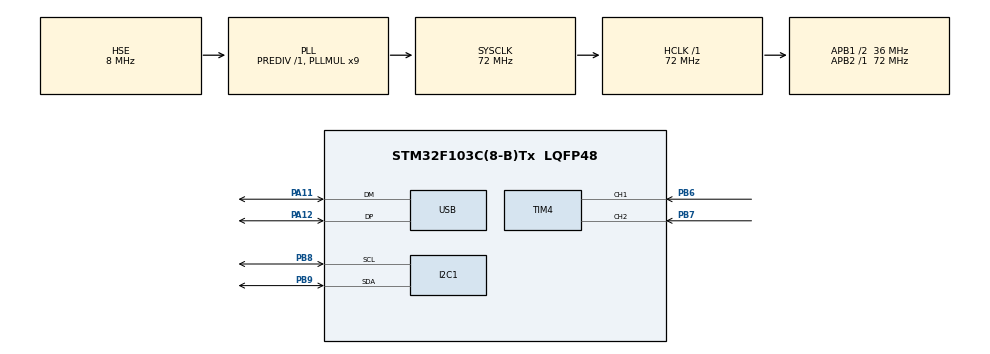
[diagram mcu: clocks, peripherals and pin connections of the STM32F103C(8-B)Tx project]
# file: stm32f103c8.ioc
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I2C1.I2C_Mode=I2C_Fast
Mcu.Family=STM32F1
Mcu.Name=STM32F103C(8-B)Tx
Mcu.Package=LQFP48
NVIC.I2C1_ER_IRQn=true\:0\:0\:false\:false\:false\:true\:true\:true
NVIC.I2C1_EV_IRQn=true\:0\:0\:false\:false\:false\:true\:true\:true
NVIC.PriorityGroup=NVIC_PRIORITYGROUP_4
NVIC.USB_LP_CAN1_RX0_IRQn=true\:0\:0\:false\:false\:true\:false\:true\:true
PA11.Mode=Device
PA11.Signal=USB_DM
PA12.Mode=Device
PA12.Signal=USB_DP
PA13.Mode=Serial_Wire
PA13.Signal=SYS_JTMS-SWDIO
PA14.Mode=Serial_Wire
PA14.Signal=SYS_JTCK-SWCLK
PB6.Signal=S_TIM4_CH1
PB7.Signal=S_TIM4_CH2
PB8.Mode=I2C
PB8.Signal=I2C1_SCL
PB9.Mode=I2C
PB9.Signal=I2C1_SDA
PD0-OSC_IN.Mode=HSE-External-Oscillator
PD0-OSC_IN.Signal=RCC_OSC_IN
PD1-OSC_OUT.Mode=HSE-External-Oscillator
PD1-OSC_OUT.Signal=RCC_OSC_OUT
ProjectManager.HeapSize=0x200
ProjectManager.StackSize=0x400
ProjectManager.TargetToolchain=MDK-ARM V5.32
RCC.AHBFreq_Value=72000000
RCC.APB1CLKDivider=RCC_HCLK_DIV2
RCC.APB1Freq_Value=36000000
RCC.APB1TimFreq_Value=72000000
RCC.APB2Freq_Value=72000000
RCC.APB2TimFreq_Value=72000000
RCC.HCLKFreq_Value=72000000
RCC.PLLMUL=RCC_PLL_MUL9
RCC.PLLSourceVirtual=RCC_PLLSOURCE_HSE
RCC.SYSCLKFreq_VALUE=72000000
RCC.SYSCLKSource=RCC_SYSCLKSOURCE_PLLCLK
RCC.USBFreq_Value=48000000
RCC.USBPrescaler=RCC_USBCLKSOURCE_PLL_DIV1_5
SH.S_TIM4_CH1.0=TIM4_CH1,Encoder_Interface
SH.S_TIM4_CH2.0=TIM4_CH2,Encoder_Interface
USB_DEVICE.APP_RX_DATA_SIZE=512
USB_DEVICE.APP_TX_DATA_SIZE=512
USB_DEVICE.CLASS_NAME_FS=CDC
USB_DEVICE.VirtualMode=Cdc
USB_DEVICE.VirtualModeFS=Cdc_FS
VP_USB_DEVICE_VS_USB_DEVICE_CDC_FS.Mode=CDC_FS
board=custom

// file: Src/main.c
/* USER CODE BEGIN Header */
/**
  ******************************************************************************
  * @file           : main.c
  * @brief          : Main program body
  ******************************************************************************
  * @attention
  *
  * Copyright (c) 2023 STMicroelectronics.
  * All rights reserved.
  *
  * This software is licensed under terms that can be found in the LICENSE file
  * in the root directory of this software component.
  * If no LICENSE file comes with this software, it is provided AS-IS.
  *
  ******************************************************************************
  */
/* USER CODE END Header */
#include "main.h"
#include "usb_device.h"

/* USER CODE BEGIN Includes */
#define osObjectsPublic                     // define objects in main module
#include "osObjects.h"                      // RTOS object definitions
#include "RTE_Components.h"
#ifdef RTE_Compiler_EventRecorder
#include "EventRecorder.h"
#endif
/* USER CODE END Includes */

/* USER CODE BEGIN PTD */
extern int Init_Thread(void);
/* USER CODE END PTD */

I2C_HandleTypeDef hi2c1;

TIM_HandleTypeDef htim4;

void SystemClock_Config(void);
static void MX_GPIO_Init(void);
static void MX_I2C1_Init(void);
static void MX_TIM4_Init(void);

int main(void)
{
  /* USER CODE BEGIN 1 */
	osKernelInitialize();                    // initialize CMSIS-RTOS
  /* USER CODE END 1 */

  /* MCU Configuration--------------------------------------------------------*/

  /* Reset of all peripherals, Initializes the Flash interface and the Systick. */
  HAL_Init();

  /* Configure the system clock */
  SystemClock_Config();

  /* Initialize all configured peripherals */
  MX_GPIO_Init();
  MX_I2C1_Init();
  MX_TIM4_Init();
  MX_USB_DEVICE_Init();
  /* USER CODE BEGIN 2 */
	#ifdef RTE_Compiler_EventRecorder
	EventRecorderInitialize(EventRecordAll, 1);
	#endif
	SystemCoreClockUpdate();
	osKernelInitialize();	// Initialize CMSIS-RTOS
	Init_Thread();
	osKernelStart(); 		// start thread execution
  /* USER CODE END 2 */

  /* Infinite loop */
  /* USER CODE BEGIN WHILE */
	#if 0
  while (1)
  {
    /* USER CODE END WHILE */

    /* USER CODE BEGIN 3 */
  }
	#endif
  /* USER CODE END 3 */
}

void SystemClock_Config(void)
{
  RCC_OscInitTypeDef RCC_OscInitStruct = {0};
  RCC_ClkInitTypeDef RCC_ClkInitStruct = {0};
  RCC_PeriphCLKInitTypeDef PeriphClkInit = {0};

  /** Initializes the RCC Oscillators according to the specified parameters
  * in the RCC_OscInitTypeDef structure.
  */
  RCC_OscInitStruct.OscillatorType = RCC_OSCILLATORTYPE_HSE;
  RCC_OscInitStruct.HSEState = RCC_HSE_ON;
  RCC_OscInitStruct.HSEPredivValue = RCC_HSE_PREDIV_DIV1;
  RCC_OscInitStruct.HSIState = RCC_HSI_ON;
  RCC_OscInitStruct.PLL.PLLState = RCC_PLL_ON;
  RCC_OscInitStruct.PLL.PLLSource = RCC_PLLSOURCE_HSE;
  RCC_OscInitStruct.PLL.PLLMUL = RCC_PLL_MUL9;
  if (HAL_RCC_OscConfig(&RCC_OscInitStruct) != HAL_OK)
  {
    Error_Handler();
  }

  /** Initializes the CPU, AHB and APB buses clocks
  */
  RCC_ClkInitStruct.ClockType = RCC_CLOCKTYPE_HCLK|RCC_CLOCKTYPE_SYSCLK
                              |RCC_CLOCKTYPE_PCLK1|RCC_CLOCKTYPE_PCLK2;
  RCC_ClkInitStruct.SYSCLKSource = RCC_SYSCLKSOURCE_PLLCLK;
  RCC_ClkInitStruct.AHBCLKDivider = RCC_SYSCLK_DIV1;
  RCC_ClkInitStruct.APB1CLKDivider = RCC_HCLK_DIV2;
  RCC_ClkInitStruct.APB2CLKDivider = RCC_HCLK_DIV1;

  if (HAL_RCC_ClockConfig(&RCC_ClkInitStruct, FLASH_LATENCY_2) != HAL_OK)
  {
    Error_Handler();
  }
  PeriphClkInit.PeriphClockSelection = RCC_PERIPHCLK_USB;
  PeriphClkInit.UsbClockSelection = RCC_USBCLKSOURCE_PLL_DIV1_5;
  if (HAL_RCCEx_PeriphCLKConfig(&PeriphClkInit) != HAL_OK)
  {
    Error_Handler();
  }
}

static void MX_I2C1_Init(void)
{

  hi2c1.Instance = I2C1;
  hi2c1.Init.ClockSpeed = 400000;
  hi2c1.Init.DutyCycle = I2C_DUTYCYCLE_2;
  hi2c1.Init.OwnAddress1 = 0;
  hi2c1.Init.AddressingMode = I2C_ADDRESSINGMODE_7BIT;
  hi2c1.Init.DualAddressMode = I2C_DUALADDRESS_DISABLE;
  hi2c1.Init.OwnAddress2 = 0;
  hi2c1.Init.GeneralCallMode = I2C_GENERALCALL_DISABLE;
  hi2c1.Init.NoStretchMode = I2C_NOSTRETCH_DISABLE;
  if (HAL_I2C_Init(&hi2c1) != HAL_OK)
  {
    Error_Handler();
  }

}

static void MX_TIM4_Init(void)
{

  TIM_Encoder_InitTypeDef sConfig = {0};
  TIM_MasterConfigTypeDef sMasterConfig = {0};

  htim4.Instance = TIM4;
  htim4.Init.Prescaler = 0;
  htim4.Init.CounterMode = TIM_COUNTERMODE_UP;
  htim4.Init.Period = 65535;
  htim4.Init.ClockDivision = TIM_CLOCKDIVISION_DIV1;
  htim4.Init.AutoReloadPreload = TIM_AUTORELOAD_PRELOAD_DISABLE;
  sConfig.EncoderMode = TIM_ENCODERMODE_TI1;
  sConfig.IC1Polarity = TIM_ICPOLARITY_RISING;
  sConfig.IC1Selection = TIM_ICSELECTION_DIRECTTI;
  sConfig.IC1Prescaler = TIM_ICPSC_DIV1;
  sConfig.IC1Filter = 0;
  sConfig.IC2Polarity = TIM_ICPOLARITY_RISING;
  sConfig.IC2Selection = TIM_ICSELECTION_DIRECTTI;
  sConfig.IC2Prescaler = TIM_ICPSC_DIV1;
  sConfig.IC2Filter = 0;
  if (HAL_TIM_Encoder_Init(&htim4, &sConfig) != HAL_OK)
  {
    Error_Handler();
  }
  sMasterConfig.MasterOutputTrigger = TIM_TRGO_RESET;
  sMasterConfig.MasterSlaveMode = TIM_MASTERSLAVEMODE_DISABLE;
  if (HAL_TIMEx_MasterConfigSynchronization(&htim4, &sMasterConfig) != HAL_OK)
  {
    Error_Handler();
  }

}

static void MX_GPIO_Init(void)
{

  /* GPIO Ports Clock Enable */
  __HAL_RCC_GPIOD_CLK_ENABLE();
  __HAL_RCC_GPIOA_CLK_ENABLE();
  __HAL_RCC_GPIOB_CLK_ENABLE();

}

void Error_Handler(void)
{
  __disable_irq();
  while (1)
  {
  }
}
